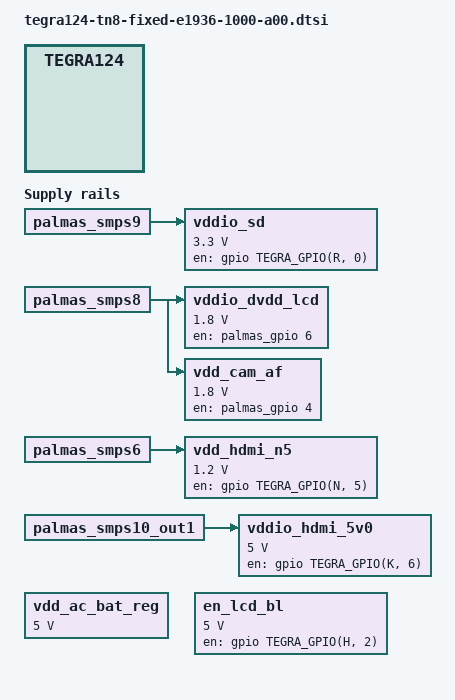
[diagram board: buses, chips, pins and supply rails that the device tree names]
#include <dt-bindings/gpio/tegra-gpio.h>

/ {
	regulators {
		compatible = "simple-bus";
		#address-cells = <1>;
		#size-cells = <0>;

		vdd_ac_bat_reg: regulator@0 {
			compatible = "regulator-fixed";
			reg = <0>;
			regulator-name = "vdd_ac_bat";
			regulator-min-microvolt = <5000000>;
			regulator-max-microvolt = <5000000>;
			regulator-always-on;

			consumers {
				c1 {
					regulator-consumer-supply = "vdd_sys_bl";
				};
				c2 {
					regulator-consumer-supply = "vdd_wwan_mdm";
				};
			};
		};

		en_lcd_bl: regulator@1 {
			compatible = "regulator-fixed-sync";
			reg = <1>;
			regulator-name = "en-lcd-bl";
			regulator-min-microvolt = <5000000>;
			regulator-max-microvolt = <5000000>;
			enable-active-high;
			gpio = <&gpio TEGRA_GPIO(H, 2) 0>;

			consumers {
				c1 {
					regulator-consumer-supply = "vdd_lcd_bl_en";
					regulator-consumer-device = "tegradc.0";
				};
			};
		};

		vddio_sd: regulator@2 {
			compatible = "regulator-fixed-sync";
			reg = <2>;
			regulator-name = "vddio_sd";
			regulator-min-microvolt = <3300000>;
			regulator-max-microvolt = <3300000>;
			gpio = <&gpio TEGRA_GPIO(R, 0) GPIO_ACTIVE_HIGH>;
			enable-active-high;
			vin-supply = <&palmas_smps9>;

			consumers {
				c1 {
					regulator-consumer-supply = "vddio_sd_slot";
					regulator-consumer-device = "sdhci-tegra.2";
				};
			};
		};

		vddio_dvdd_lcd: regulator@3 {
			compatible = "regulator-fixed-sync";
			reg = <3>;
			regulator-name = "vddio_dvdd_lcd";
			regulator-min-microvolt = <1800000>;
			regulator-max-microvolt = <1800000>;
			gpio = <&palmas_gpio 6 0>;
			enable-active-high;
			vin-supply = <&palmas_smps8>;

			consumers {
				c1 {
					regulator-consumer-supply = "dvdd_lcd";
					regulator-consumer-device = "tegradc.0";
				};
				c2 {
					regulator-consumer-supply = "vdd_lcd_1v8_s";
				};
			};
		};

		vdd_cam_af: regulator@4 {
			compatible = "regulator-fixed-sync";
			reg = <4>;
			regulator-name = "vdd_cam_af";
			regulator-min-microvolt = <1800000>;
			regulator-max-microvolt = <1800000>;
			gpio = <&palmas_gpio 4 0>;
			enable-active-high;
			vin-supply = <&palmas_smps8>;

			consumers {
				c1 {
					regulator-consumer-supply = "vif";
					regulator-consumer-device = "2-0010";
				};
				c2 {
					regulator-consumer-supply = "vif";
					regulator-consumer-device = "2-0036";
				};
				c3 {
					regulator-consumer-supply = "vif";
					regulator-consumer-device = "2-0048";
				};
				c4 {
					regulator-consumer-supply = "vddio_cam";
					regulator-consumer-device = "tegra_camera";
				};
				c5 {
					regulator-consumer-supply = "vddio_cam";
					regulator-consumer-device = "vi";
				};
				c6 {
					regulator-consumer-supply = "vdd_cam_1v8_mb";
				};
				c7 {
					regulator-consumer-supply = "dovdd";
					regulator-consumer-device = "2-0010";
				};
				c8 {
					regulator-consumer-supply = "vif";
					regulator-consumer-device = "2-000c";
				};
				c9 {
					regulator-consumer-supply = "vdd_i2c";
					regulator-consumer-device = "2-000c";
				};
				c10 {
					regulator-consumer-supply = "pwrdet_cam";
				};
			};
		};
		vdd_hdmi_n5: regulator@5 {
			compatible = "regulator-fixed-sync";
			reg = <5>;
			regulator-name = "vdd-hdmi-n5";
			regulator-min-microvolt = <1200000>;
			regulator-max-microvolt = <1200000>;
			enable-active-high;
			gpio = <&gpio TEGRA_GPIO(N, 5) 0>;
			vin-supply = <&palmas_smps6>;

			consumers {
				c1 {
					regulator-consumer-supply = "avdd_hdmi_pll";
					regulator-consumer-device = "tegradc.1";
				};
			};
		};

		vddio_hdmi_5v0: regulator@6 {
			compatible = "regulator-fixed-sync";
			reg = <6>;
			regulator-name = "vddio_hdmi_5v0";
			regulator-min-microvolt = <5000000>;
			regulator-max-microvolt = <5000000>;
			gpio = <&gpio TEGRA_GPIO(K, 6) 0>;
			enable-active-high;
			vin-supply = <&palmas_smps10_out1>;

			consumers {
							c1 {
								regulator-consumer-supply = "vdd_hdmi_5v0";
								regulator-consumer-device = "tegradc.1";
							};
			};
		};


	};
};
